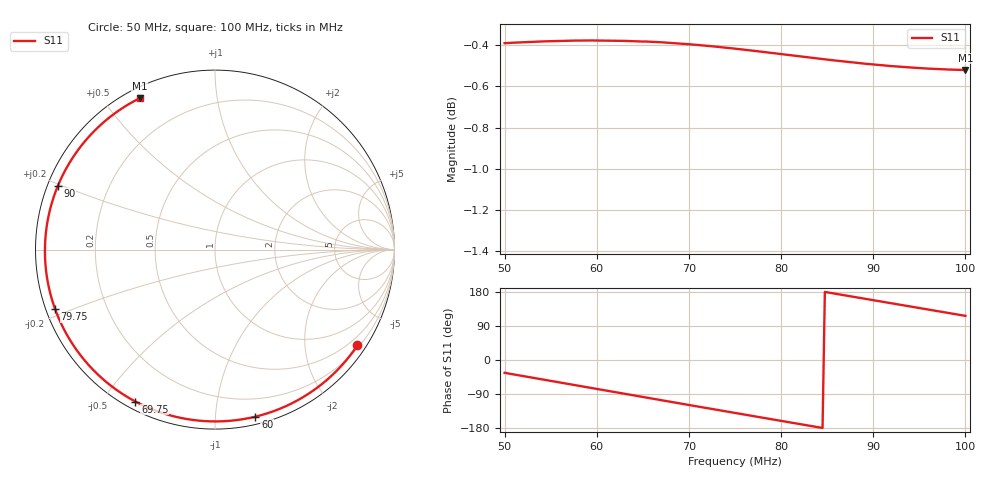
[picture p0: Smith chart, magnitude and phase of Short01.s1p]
!Agilent Technologies,E5072A,MY51200456,A.01.06
!Date: Thu Sep 03 20:48:12 2015
!Data & Calibration Information:
!Freq	S11:SOLT1(ON)
!PortZ  Port1:50+j0
!Above PortZ is port z conversion or system Z0 setting when saving the data.
!When reading, reference impedance value at option line is always used.
# Hz S dB R 50
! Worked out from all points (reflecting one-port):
!   201 points, 50 MHz to 100 MHz, reference 50 ohm
!   lowest |S11| = -0.5 dB at 100 MHz (marker M1), VSWR 33.42, Z = 2.07 + j30.9 ohm
!   phase of S11 starts at -34 deg and turns -210 deg over the sweep
!   S11 on the Smith chart (normalised r, x): 50 MHz: 0.26, -3.27; 60 MHz: 0.06, -1.27; 69.75 MHz: 0.03, -0.60; 79.75 MHz: 0.03, -0.18; 90 MHz: 0.03, +0.20; 100 MHz: 0.04, +0.62
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5e7  -0.39 -33.9
5.15e7  -0.39 -40.3
5.325e7  -0.38 -47.7
5.475e7  -0.38 -54.1
5.625e7  -0.38 -60.5
5.8e7  -0.38 -67.9
6e7  -0.38 -76.4
6.25e7  -0.38 -87.0
6.4e7  -0.38 -93.4
6.55e7  -0.38 -99.7
6.7e7  -0.39 -106.1
6.875e7  -0.39 -113.4
6.975e7  -0.39 -117.7
7.225e7  -0.40 -128.2
7.5e7  -0.42 -139.7
7.75e7  -0.43 -150.2
7.975e7  -0.44 -159.6
8.125e7  -0.45 -165.8
8.275e7  -0.46 -172.1
8.425e7  -0.47 -178.3
8.575e7  -0.47 175.5
8.75e7  -0.48 168.2
9e7  -0.49 157.8
9.175e7  -0.50 150.6
9.375e7  -0.51 142.3
9.7e7  -0.52 128.9
9.85e7  -0.52 122.7
1e8  -0.52 116.5
